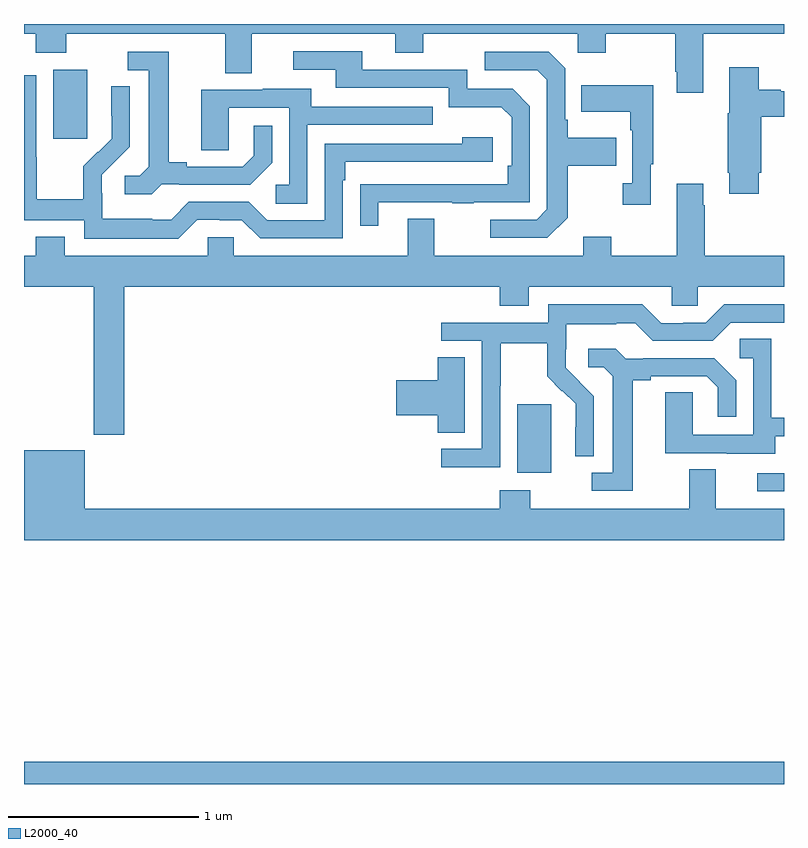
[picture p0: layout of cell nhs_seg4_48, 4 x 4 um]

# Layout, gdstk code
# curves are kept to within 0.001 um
import gdstk
lib = gdstk.Library(unit=1e-6, precision=1e-09)
def R(c, l, rs):  # rectangles x0, y0, x1, y1
    for r in rs: c.add(gdstk.rectangle(r[:2], r[2:], *l))
def P(c, l, *ps):  # polygons
    for p in ps: c.add(gdstk.Polygon(p, *l))
L2000_40 = (2000, 40)

nhs_seg4_48 = lib.new_cell('nhs_seg4_48')
R(nhs_seg4_48, L2000_40, [(113,764.9,117,765.016), (116.859,766.44,117,766.536), (115.595,766.538,115.774,766.899), (113.153,768.297,113.332,768.658)])
P(nhs_seg4_48, L2000_40, [(116.575,768.848),(117,768.848),(117,768.9),(113,768.9),(113,768.848),(113.063,768.848),(113.063,768.749),(113.223,768.749),(113.223,768.848),(114.059,768.848),(114.059,768.64),(114.199,768.64),(114.199,768.848),(114.953,768.848),(114.953,768.749),(115.101,768.749),(115.101,768.848),(115.914,768.848),(115.914,768.749),(116.061,768.749),(116.061,768.848),(116.428,768.848),(116.428,768.649),(116.435,768.649),(116.435,768.537),(116.575,768.537)],
  [(114.865,767.961),(115.255,767.961),(115.255,767.956),(115.367,767.956),(115.367,767.961),(115.662,767.961),(115.662,768.468),(115.572,768.558),(115.332,768.558),(115.332,768.66),(114.781,768.66),(114.781,768.756),(114.417,768.756),(114.417,768.66),(114.641,768.66),(114.641,768.564),(115.236,768.564),(115.236,768.461),(115.513,768.461),(115.566,768.408),(115.566,768.154),(115.546,768.154),(115.546,768.057),(114.769,768.056),(114.769,767.838),(114.865,767.838)],
  [(115.861,767.881),(115.861,768.154),(116.117,768.154),(116.117,768.301),(115.861,768.301),(115.861,768.397),(115.848,768.397),(115.848,768.666),(115.761,768.753),(115.425,768.753),(115.425,768.657),(115.701,768.657),(115.752,768.606),(115.752,767.925),(115.698,767.871),(115.455,767.871),(115.455,767.775),(115.755,767.775)],
  [(113.724,768.057),(113.818,768.057),(113.818,768.054),(114.19,768.054),(114.306,768.17),(114.306,768.364),(114.209,768.364),(114.209,768.207),(114.152,768.15),(113.857,768.15),(113.857,768.173),(113.761,768.173),(113.761,768.753),(113.547,768.753),(113.547,768.657),(113.657,768.657),(113.657,768.149),(113.61,768.102),(113.529,768.102),(113.529,768.005),(113.672,768.005)],
  [(116.866,768.118),(116.879,768.118),(116.879,768.413),(117,768.413),(117,768.547),(116.982,768.547),(116.982,768.555),(116.866,768.555),(116.866,768.673),(116.711,768.673),(116.711,768.429),(116.704,768.429),(116.704,768.118),(116.711,768.118),(116.711,768.006),(116.866,768.006)],
  [(113.913,767.871),(114.029,767.871),(114.029,767.868),(114.147,767.868),(114.243,767.772),(114.678,767.772),(114.678,768.077),(114.691,768.077),(114.691,768.174),(115.468,768.174),(115.468,768.304),(115.307,768.304),(115.307,768.27),(114.582,768.27),(114.582,767.868),(114.279,767.868),(114.183,767.964),(113.868,767.964),(113.775,767.871),(113.675,767.871),(113.675,767.875),(113.412,767.875),(113.412,768.009),(113.41,768.009),(113.41,768.106),(113.556,768.254),(113.556,768.572),(113.46,768.572),(113.46,768.418),(113.462,768.418),(113.462,768.296),(113.391,768.225),(113.388,768.228),(113.311,768.151),(113.311,767.977),(113.067,767.977),(113.067,768.2),(113.064,768.2),(113.064,768.63),(113,768.63),(113,767.868),(113.316,767.868),(113.316,767.771),(113.813,767.771)],
  [(116.299,768.161),(116.311,768.161),(116.311,768.577),(115.933,768.577),(115.933,768.437),(116.19,768.437),(116.19,768.341),(116.202,768.341),(116.202,768.062),(116.151,768.062),(116.151,767.949),(116.299,767.949)],
  [(114.492,768.369),(115.151,768.369),(115.151,768.465),(114.511,768.465),(114.511,768.559),(114.257,768.559),(114.257,768.555),(113.933,768.555),(113.933,768.235),(114.078,768.235),(114.078,768.459),(114.396,768.459),(114.396,768.054),(114.324,768.054),(114.324,767.953),(114.492,767.953)],
  [(113.528,767.516),(115.505,767.516),(115.505,767.417),(115.657,767.417),(115.657,767.516),(116.409,767.516),(116.409,767.418),(116.547,767.418),(116.547,767.516),(117,767.516),(117,767.68),(116.583,767.68),(116.583,767.945),(116.575,767.945),(116.575,768.058),(116.435,768.058),(116.435,767.68),(116.091,767.68),(116.091,767.779),(115.943,767.779),(115.943,767.68),(115.159,767.68),(115.159,767.875),(115.019,767.875),(115.019,767.68),(114.105,767.68),(114.105,767.778),(113.967,767.778),(113.967,767.68),(113.215,767.68),(113.215,767.779),(113.063,767.779),(113.063,767.68),(113,767.68),(113,767.516),(113.368,767.516),(113.368,766.737),(113.528,766.737)],
  [(115.506,766.996),(115.509,766.996),(115.509,767.22),(115.753,767.22),(115.753,767.045),(115.83,766.968),(115.833,766.971),(115.904,766.901),(115.904,766.778),(115.902,766.778),(115.902,766.624),(115.998,766.624),(115.998,766.942),(115.852,767.09),(115.852,767.187),(115.854,767.187),(115.854,767.321),(116.117,767.321),(116.117,767.325),(116.217,767.325),(116.31,767.232),(116.625,767.232),(116.721,767.328),(117,767.328),(117,767.424),(116.685,767.424),(116.589,767.328),(116.471,767.328),(116.471,767.325),(116.355,767.325),(116.255,767.425),(115.758,767.425),(115.758,767.328),(115.197,767.328),(115.197,767.232),(115.41,767.232),(115.41,766.665),(115.197,766.665),(115.197,766.567),(115.506,766.567)],
  [(116.953,766.731),(117,766.731),(117,766.827),(116.934,766.827),(116.934,767.243),(116.766,767.243),(116.766,767.142),(116.838,767.142),(116.838,766.737),(116.52,766.737),(116.52,766.961),(116.375,766.961),(116.375,766.641),(116.699,766.641),(116.699,766.637),(116.953,766.637)],
  [(116.203,767.024),(116.299,767.024),(116.299,767.046),(116.594,767.046),(116.651,766.989),(116.651,766.833),(116.748,766.833),(116.748,767.026),(116.632,767.142),(116.26,767.142),(116.26,767.139),(116.166,767.139),(116.114,767.191),(115.971,767.191),(115.971,767.094),(116.052,767.094),(116.099,767.047),(116.099,766.539),(115.989,766.539),(115.989,766.443),(116.203,766.443)],
  [(115.321,767.147),(115.178,767.147),(115.178,767.024),(114.96,767.024),(114.96,766.841),(115.178,766.841),(115.178,766.75),(115.321,766.75)],
  [(117,766.348),(116.641,766.348),(116.641,766.556),(116.501,766.556),(116.501,766.348),(115.665,766.348),(115.665,766.447),(115.505,766.447),(115.505,766.348),(113.32,766.348),(113.32,766.657),(113,766.657),(113,766.184),(117,766.184)])

lib.write_gds('nhs_seg4_48.gds')
